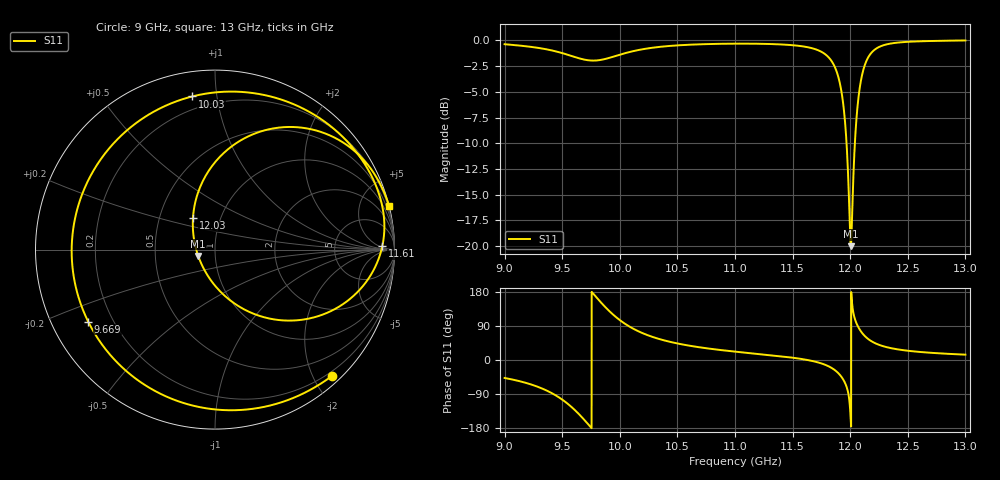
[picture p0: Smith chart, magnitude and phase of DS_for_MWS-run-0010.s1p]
! TOUCHSTONE file generated by CST DESIGN STUDIO
! Date and time: Tue Feb  4 15:38:56 2025
! Project name: C:\Work\MatlabApps\UnitCellOptimizationMatlab\CST\unitcell.cst
! Tree item: Tasks\Sweep1\SPara1\S-Parameters
! Header version: 2024
! Port assignment regex: !\s*Touchstone port\s*([0-9]+)\s*=\s*(CST MWS port|CST DES external port|CST DES block port)\s*(.+)\s* \(\"(.*)\"\)(\s*mode\s*([0-9]+))?.*
! Touchstone port assignment:
! Touchstone port 1 = CST DES external port 1 ("")
# GHz S MA R 50
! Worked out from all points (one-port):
!   4001 points, 9 GHz to 13 GHz, reference 50 ohm
!   lowest |S11| = -20.0 dB at 12.01 GHz (marker M1), VSWR 1.22, Z = 41.4 - j2.99 ohm
!   |S11| at or under -10 dB: 11.97 GHz to 12.04 GHz (72.16 MHz wide, 0.601 % of centre)
!   S11 on the Smith chart (normalised r, x): 9 GHz: 0.13, -2.27; 9.669 GHz: 0.11, -0.26; 10.03 GHz: 0.13, +0.85; 11.61 GHz: 26, +7; 12.03 GHz: 0.74, +0.27; 13 GHz: -0.00, +8.11
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9  0.9591 -47.4
9.274  0.9235 -69.1
9.5  0.8681 -104.5
9.586  0.8388 -125.4
9.669  0.8126 -150.4
9.74  0.7996 -174.6
9.809  0.8005 161.2
9.905  0.8218 130.2
10  0.8526 105.3
10.031  0.8626 98.5
10.243  0.9151 65.3
10.5  0.9464 43.7
11  0.9648 22.1
11.5  0.9484 6.1
11.609  0.9322 1.1
11.792  0.8492 -13.8
11.898  0.6613 -35.1
11.953  0.415 -59.2
12  0.1102 -133.1
12.005  0.09992 -159.0
12.027  0.2132 125.2
12.046  0.3569 103.5
12.068  0.5053 88.2
12.133  0.776 61.4
12.192  0.8809 48.2
12.265  0.9375 38.4
12.5  0.985 24.4
13  1 14.1
